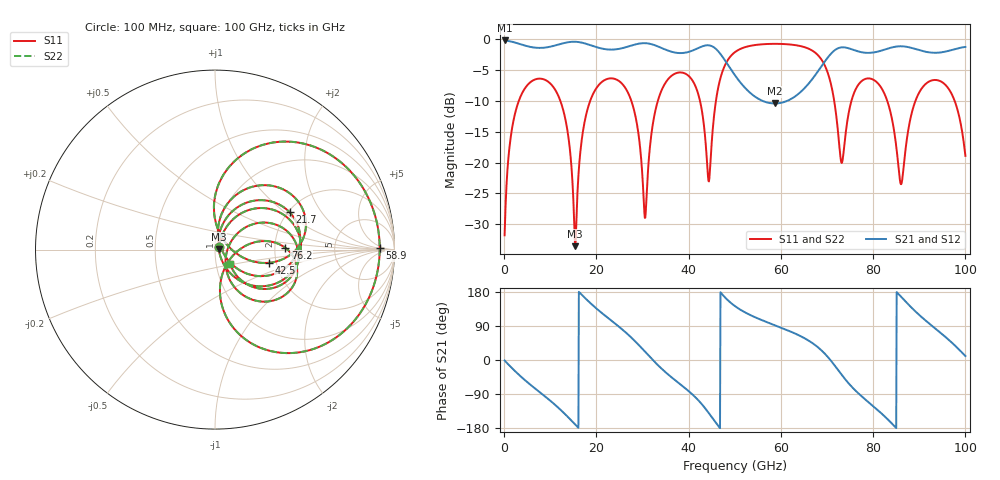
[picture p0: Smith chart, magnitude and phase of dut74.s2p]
! Touchstone file exported from HFSS 2026.1.0
!  File:  C:/ffzhzh/LocalFiles/Ansys_Project_Files/temp_train_TSV_RDL_74_1783449827_34316.aedt
!  Generated:  03:08:56 AM Jul  8, 2026
!  Design:  TSV_RDL
!  Project:  temp_train_TSV_RDL_74_1783449827_34316
! Variables:
!  h_bsmrdl = 2.39um
!  h_ox = 20um
!  h_rdl = 5um
!  h_sub = 88.53um
!  h_tmrdl = 2.79um
!  h_tsv = 88.53um
!  h_via = 3um
!  l_bsmrdl = 286.86um
!  l_sub = 3508.88um
!  l_tmrdl = 527.32um
!  m_sub = 200um
!  pitch = 42.37um
!  r_tsv = 6um
!  s_tmrdl = 10um
!  w_bsmrdl = 29.31um
!  w_sub = 500um
!  w_tmrdl = 17.03um
!  x_tsv_center1 = 535.835um
!  x_tsv_center2 = 852.005um
!  x_tsv_center3 = 1396.355um
!  x_tsv_center4 = 1712.525um
!  x_tsv_center5 = 2256.875um
!  x_tsv_center6 = 2573.045um
# GHz S MA R 50.000000
! Terminal data exported
! Port[1] = TM_RDL1_1_T1
! Port[2] = TM_RDL5_1_T1
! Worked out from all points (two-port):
!   1000 points, 100 MHz to 100 GHz, reference 50 ohm
!   highest |S21| = -0.20 dB at 100 MHz (marker M1); lowest = -10.4 dB at 58.7 GHz (marker M2)
!   |S21| within 3 dB of the highest: start of sweep to 47.67 GHz; 69.93 GHz to end of sweep
!   lowest |S11| = -33.6 dB at 15.4 GHz (marker M3), VSWR 1.04, Z = 52.1 + j0.14 ohm
!   |S11| at or under -10 dB: 12.19 GHz to 18.65 GHz (6.463 GHz wide, 41.9 % of centre); 27.58 GHz to 33.32 GHz (5.742 GHz wide, 18.9 % of centre); 83.06 GHz to 89.17 GHz (6.111 GHz wide, 7.1 % of centre) (the widest 3 of 7)
!   |S22| runs from -33.6 to -0.7 dB; largest |S21 - S12| = 2.5e-14
!   S11 on the Smith chart (normalised r, x): 100 MHz: 1.05, +0.03; 21.7 GHz: 2.03, +1.08; 42.5 GHz: 1.84, -0.30; 58.9 GHz: 23, +3; 76.2 GHz: 2.29, +0.05; 100 GHz: 1.16, -0.18
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0.1  0.02575 27.8  0.9774 -1.3  0.9774 -1.3  0.02575 27.8
! Gamma 0 0 0 0
! Port Impedance 50 0 50 0
2.5  0.2618 52.8  0.9366 -30.9  0.9366 -30.9  0.2618 52.8
7.7  0.4794 3.1  0.8506 -84.8  0.8506 -84.8  0.4794 3.0
12.9  0.2584 -47.4  0.9293 -139.2  0.9293 -139.2  0.2584 -47.4
15.4  0.021 3.7  0.9539 -170.0  0.9539 -170.0  0.02096 3.6
16.8  0.1508 72.9  0.9389 172.5  0.9389 172.5  0.1508 72.9
21.7  0.4647 26.7  0.8331 118.9  0.8331 118.9  0.4647 26.7
27.6  0.3144 -27.8  0.8891 58.9  0.8891 58.9  0.3143 -27.9
30.5  0.03561 11.6  0.9292 22.6  0.9292 22.6  0.03491 11.4
33.4  0.3238 69.2  0.8725 -14.3  0.8725 -14.3  0.3237 69.3
42.5  0.3115 -13.6  0.8618 -111.7  0.8618 -111.7  0.3115 -13.7
44.4  0.07034 41.7  0.8923 -140.6  0.8923 -140.6  0.06948 41.6
50.1  0.7889 47.2  0.5067 141.7  0.5067 141.7  0.7887 47.2
58.7  0.9178 1.4  0.3013 91.7  0.3013 91.7  0.9177 1.5
58.9  0.9177 0.6  0.3014 90.7  0.3014 90.7  0.9177 0.6
66.7  0.8131 -39.8  0.4698 45.7  0.4698 45.7  0.8131 -39.8
73.2  0.09928 -34.2  0.8598 -39.4  0.8598 -39.4  0.09894 -34.1
76.2  0.3921 1.4  0.8085 -81.0  0.8085 -81.0  0.3922 1.5
83.4  0.2878 -59.2  0.8445 -159.5  0.8445 -159.5  0.2881 -59.0
86.1  0.06686 -9.3  0.8771 166.2  0.8771 166.2  0.06752 -9.4
91.1  0.4239 12.4  0.7955 107.0  0.7955 107.0  0.424 12.4
100  0.1133 -43.2  0.8657 10.5  0.8657 10.5  0.1141 -42.8
